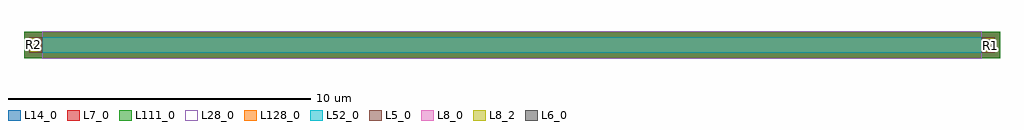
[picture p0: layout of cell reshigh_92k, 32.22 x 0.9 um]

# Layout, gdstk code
from math import pi, radians
import gdstk
lib = gdstk.Library(unit=1e-6, precision=1e-09)
def R(c, l, rs):  # rectangles x0, y0, x1, y1
    for r in rs: c.add(gdstk.rectangle(r[:2], r[2:], *l))
L5_0 = (5, 0)
L6_0 = (6, 0)
L7_0 = (7, 0)
L8_0 = (8, 0)
L8_2 = (8, 2)
L14_0 = (14, 0)
L28_0 = (28, 0)
L52_0 = (52, 0)
L111_0 = (111, 0)
L128_0 = (128, 0)

rhigh = lib.new_cell('rhigh')
R(rhigh, L5_0, [(0,-0.43,0.5,0), (0,31,0.5,31.43)])
R(rhigh, L6_0, [(0.07,-0.36,0.43,-0.2), (0.07,31.2,0.43,31.36)])
R(rhigh, L7_0, [(-0.18,-0.61,0.68,0.18), (-0.18,0,0.68,31), (-0.18,0,0.68,31), (-0.18,30.82,0.68,31.61)])
R(rhigh, L8_0, [(0.02,-0.41,0.48,-0.15), (0.02,31.15,0.48,31.41)])
R(rhigh, L8_2, [(0.02,-0.41,0.48,-0.15), (0.02,31.15,0.48,31.41)])
R(rhigh, L14_0, [(-0.18,-0.61,0.68,0.18), (-0.18,0,0.68,31), (-0.18,0,0.68,31), (-0.18,30.82,0.68,31.61)])
R(rhigh, L28_0, [(-0.2,0,0.7,31)])
R(rhigh, L52_0, [(0,0,0.5,31)])
R(rhigh, L111_0, [(-0.18,-0.61,0.68,0.18), (-0.2,0,0.7,31), (-0.18,30.82,0.68,31.61)])
R(rhigh, L128_0, [(0,0,0.5,31)])
rhigh.add(gdstk.Label('rhigh r=91972.174', (0.25,15.5), layer=63, texttype=0))
rhigh.add(gdstk.Label('rhigh', (0.25,15.5), layer=52, texttype=0))

reshigh_92k = lib.new_cell('reshigh_92k')
r = gdstk.Reference(rhigh, (15.575,-0.04), rotation=pi/2); r.repetition = gdstk.Repetition(1, 1, v1=(0,0), v2=(0,0)); reshigh_92k.add(r)
reshigh_92k.add(gdstk.Label('R1', (15.875,0.2), layer=8, texttype=25))
reshigh_92k.add(gdstk.Label('R2', (-15.72,0.215), layer=8, texttype=25))

lib.write_gds('reshigh_92k.gds')
